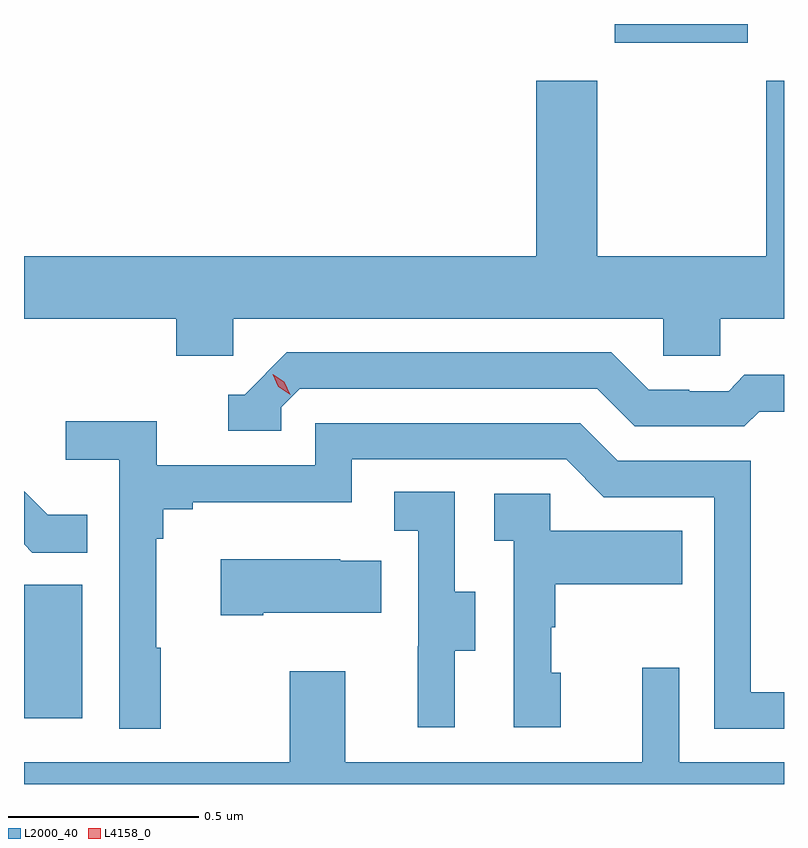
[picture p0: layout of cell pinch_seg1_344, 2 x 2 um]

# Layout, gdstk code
import gdstk
lib = gdstk.Library(unit=1e-6, precision=1e-09)
def R(c, l, rs):  # rectangles x0, y0, x1, y1
    for r in rs: c.add(gdstk.rectangle(r[:2], r[2:], *l))
def P(c, l, *ps):  # polygons
    for p in ps: c.add(gdstk.Polygon(p, *l))
L2000_40 = (2000, 40)
L4158_0 = (4158, 0)

pinch_seg1_344 = lib.new_cell('pinch_seg1_344')
R(pinch_seg1_344, L2000_40, [(953.893,558.672,954.046,559.023), (955.448,560.45,955.798,560.499)])
P(pinch_seg1_344, L2000_40, [(954.444,559.724),(955.575,559.724),(955.575,559.626),(955.725,559.626),(955.725,559.724),(955.893,559.724),(955.893,560.35),(955.846,560.35),(955.846,559.888),(955.401,559.888),(955.401,560.35),(955.241,560.35),(955.241,559.888),(953.893,559.888),(953.893,559.724),(954.293,559.724),(954.293,559.626),(954.444,559.626)],
  [(954.57,559.491),(954.618,559.539),(955.401,559.539),(955.5,559.44),(955.789,559.44),(955.828,559.479),(955.893,559.479),(955.893,559.576),(955.789,559.576),(955.747,559.533),(955.644,559.533),(955.644,559.536),(955.537,559.536),(955.438,559.635),(954.585,559.635),(954.474,559.524),(954.431,559.524),(954.431,559.428),(954.57,559.428)],
  [(954.253,558.857),(954.241,558.857),(954.241,559.145),(954.26,559.145),(954.26,559.222),(954.337,559.222),(954.337,559.241),(954.756,559.241),(954.756,559.353),(955.32,559.353),(955.419,559.254),(955.71,559.254),(955.71,558.645),(955.893,558.645),(955.893,558.741),(955.806,558.741),(955.806,559.35),(955.456,559.35),(955.357,559.449),(954.66,559.449),(954.66,559.338),(954.242,559.338),(954.242,559.454),(954.003,559.454),(954.003,559.352),(954.144,559.352),(954.144,558.645),(954.253,558.645)],
  [(954.059,559.207),(953.955,559.207),(953.893,559.269),(953.893,559.13),(953.915,559.108),(954.059,559.108)],
  [(955.027,558.85),(955.081,558.85),(955.081,559.005),(955.026,559.005),(955.026,559.268),(954.867,559.268),(954.867,559.165),(954.93,559.165),(954.93,558.861),(954.929,558.861),(954.929,558.648),(955.027,558.648)],
  [(955.306,558.792),(955.281,558.792),(955.281,558.911),(955.291,558.911),(955.291,559.025),(955.625,559.025),(955.625,559.165),(955.278,559.165),(955.278,559.263),(955.131,559.263),(955.131,559.139),(955.182,559.139),(955.182,558.648),(955.306,558.648)],
  [(954.523,558.95),(954.833,558.95),(954.833,559.087),(954.725,559.087),(954.725,559.09),(954.411,559.09),(954.411,558.943),(954.523,558.943)],
  [(955.893,558.556),(955.617,558.556),(955.617,558.805),(955.52,558.805),(955.52,558.556),(954.739,558.556),(954.739,558.796),(954.592,558.796),(954.592,558.556),(953.893,558.556),(953.893,558.499),(955.893,558.499)])
P(pinch_seg1_344, L4158_0, [(954.593,559.524),(954.562,559.544),(954.547,559.577),(954.547,559.577),(954.547,559.577),(954.578,559.557),(954.593,559.524),(954.593,559.524)])

lib.write_gds('pinch_seg1_344.gds')
